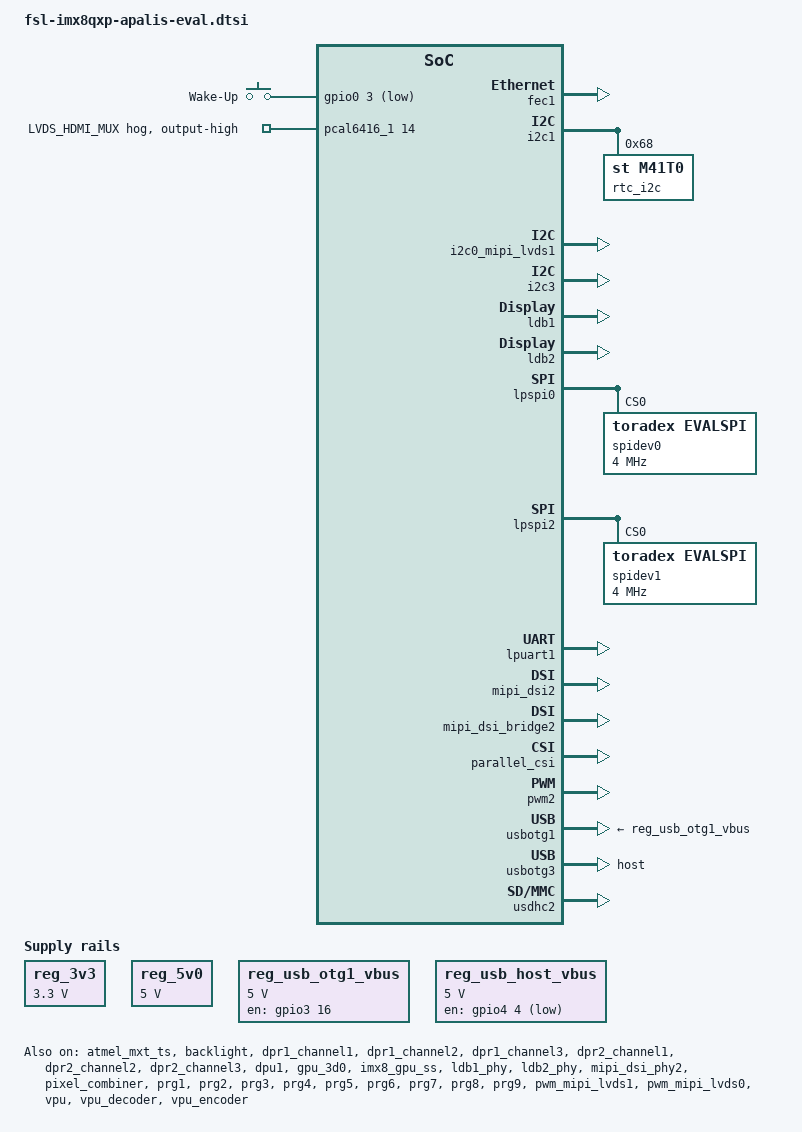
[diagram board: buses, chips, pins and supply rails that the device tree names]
// SPDX-License-Identifier: GPL-2.0+ OR X11
/*
 * Copyright 2019 Toradex
 */

/ {
	aliases {
		rtc0 = &rtc_i2c;
		rtc1 = &rtc;
	};

	display-subsystem {
		status = "okay";
	};

	/* Apalis WAKE1_MICO */
	gpio-keys {
		compatible = "gpio-keys";
		pinctrl-names = "default";
		pinctrl-0 = <&pinctrl_gpio_keys>;

		wakeup {
			label = "Wake-Up";
			gpios = <&gpio0 3 GPIO_ACTIVE_LOW>;
			linux,code = <KEY_WAKEUP>;
			debounce-interval = <10>;
			wakeup-source;
		};
	};

	reg_3v3: regulator-3v3 {
		compatible = "regulator-fixed";
		regulator-name = "3.3V";
		regulator-min-microvolt = <3300000>;
		regulator-max-microvolt = <3300000>;
	};

	reg_5v0: regulator-5v0 {
		compatible = "regulator-fixed";
		regulator-name = "5V";
		regulator-min-microvolt = <5000000>;
		regulator-max-microvolt = <5000000>;
	};

	reg_usb_otg1_vbus: regulator@0 {
		compatible = "regulator-fixed";
		pinctrl-names = "default";
		pinctrl-0 = <&pinctrl_usbo1_en>;
		regulator-name = "usb_otg1_vbus";
		regulator-min-microvolt = <5000000>;
		regulator-max-microvolt = <5000000>;
		enable-active-high;
		/* Apalis USBO1_EN */
		gpio = <&gpio3 16 GPIO_ACTIVE_HIGH>;
	};

	reg_usb_host_vbus: regulator-usb-host-vbus {
		compatible = "regulator-fixed";
		pinctrl-names = "default";
		pinctrl-0 = <&pinctrl_usbh_en>;
		regulator-name = "usb_host_vbus_hub";
		regulator-min-microvolt = <5000000>;
		regulator-max-microvolt = <5000000>;
		/* Apalis USBH_EN */
		gpio = <&gpio4 4 GPIO_ACTIVE_HIGH>;
	};
};

/* Apalis Parallel RGB */
&adma_lcdif {
	status = "okay";
};

&atmel_mxt_ts {
	status = "okay";
};

&backlight {
	brightness-levels = <0 45 63 88 119 158 203 255>;
	default-brightness-level = <4>;
	pwms = <&pwm_mipi_lvds1 0 6666667 PWM_POLARITY_INVERTED>;
	status= "okay";
};

/* Display Prefetch Resolve, (Tiling) */
&dpr1_channel1 {
	status = "okay";
};

&dpr1_channel2 {
	status = "okay";
};

&dpr1_channel3 {
	status = "okay";
};

&dpr2_channel1 {
	status = "okay";
};

&dpr2_channel2 {
	status = "okay";
};

&dpr2_channel3 {
	status = "okay";
};

&dpu1 {
	status = "okay";
};

&fec1 {
	status = "okay";
};

/* Apalis CAN2 */
&flexcan2 {
	/* define the following property to disable CAN-FD mode */
	/* disable-fd-mode; */
/* Todo:	xceiver-supply = <&reg_can_stby>; */
};

/* Apalis CAN1 */
&flexcan1 {
	/* define the following property to disable CAN-FD mode */
	/* disable-fd-mode; */
/* Todo:	xceiver-supply = <&reg_can_stby>; */
};

&gpu_3d0 {
	status = "okay";
};

/* Apalis I2C1 */
&i2c1 {
	status = "okay";

	/* M41T0M6 real time clock on carrier board */
	rtc_i2c: rtc@68 {
		compatible = "st,m41t0";
		reg = <0x68>;
	};
};

/* Apalis I2C2 (DDC) */
&i2c0_mipi_lvds1 {
	status = "okay";
};

/* Apalis I2C3 (CAM) */
&i2c3 {
	status = "okay";
#if 0 /* Todo */
	ov5640_mipi: ov5640_mipi@3c {
		compatible = "ovti,ov5640_mipi_v3";
		clocks = <&clk IMX8QXP_24MHZ>;
		clock-names = "csi_mclk";
		csi_id = <0>;
		mclk = <24000000>;
		mclk_source = <0>;
		mipi_csi;
		pinctrl-names = "default";
		pinctrl-0 = <&pinctrl_gpio12>;
		pwn-gpios = <&gpio3 22 GPIO_ACTIVE_HIGH>;
		reg = <0x3c>;
		rst-gpios = <&gpio3 21 GPIO_ACTIVE_LOW>;
		status = "okay";

		port {
			ov5640_ep: endpoint {
				remote-endpoint = <&parallel_csi_ep>;
			};
		};
	};
#endif
};

&imx8_gpu_ss {
	status = "okay";
};

&ldb1 {
	status = "okay";
};

&ldb1_phy {
	status = "okay";
};

&ldb2 {
	status = "okay";
};

&ldb2_phy {
	status = "okay";
};

/* Apalis SPI1 */
&lpspi0 {
	status = "okay";

	spidev0: spi@0 {
		compatible = "toradex,evalspi";
		reg = <0>;
		spi-max-frequency = <4000000>;
	};
};

/* Apalis SPI2 */
&lpspi2 {
	status = "okay";

	spidev1: spi@0 {
		compatible = "toradex,evalspi";
		reg = <0>;
		spi-max-frequency = <4000000>;
	};
};

/* Apalis UART1 */
&lpuart1 {
	status = "okay";
};
/*
&mipi_dsi1 {
	status = "okay";
};

&mipi_dsi_phy1 {
	status = "okay";
};

&mipi_dsi_bridge1 {
	status = "okay";
};
*/
&mipi_dsi2 {
	status = "okay";
};

&mipi_dsi_phy2 {
	status = "okay";
};

&mipi_dsi_bridge2 {
	status = "okay";
};

/* Todo: copied from mek and put some things in... */
&parallel_csi {
	#address-cells = <1>;
	#size-cells = <0>;
	status = "okay";
#if 0 /* Todo */
	port@1 {
		reg = <1>;

		parallel_csi_ep: endpoint {
			data-lanes = <1 2>;
			remote-endpoint = <&ov5640_ep>;
		};
	};
#endif
};

/* On-module GPIO Expander */
&pcal6416_1 {
	/*
	 * This gpio-hog drives a muxing device. With that we can choose
	 * if LVDS1_B pins are active or if DVI signals are active. Those
	 * signals are then muxed to MIPI_DSI1 PADs.
	 *
	 * output-high; muxes to DVI signals
	 * output-low; muxes to LVDS1_B signals
	 */
	LVDS_HDMI_MUX {
		gpio-hog;
		gpios = <14 0>;
		output-high;
		line-name = "LVDS_HDMI_MUX";
	};
};

&pixel_combiner {
	status = "okay";
};

&prg1 {
	status = "okay";
};

&prg2 {
	status = "okay";
};

&prg3 {
	status = "okay";
};

&prg4 {
	status = "okay";
};

&prg5 {
	status = "okay";
};

&prg6 {
	status = "okay";
};

&prg7 {
	status = "okay";
};

&prg8 {
	status = "okay";
};

&prg9 {
	status = "okay";
};

/* Apalis BKL1_PWM */
&pwm_mipi_lvds1 {
	status = "okay";
};

/* Apalis PWM1 */
&pwm2 {
	status = "okay";
};

/* Apalis PWM2 */
&pwm_mipi_lvds0 {
	status = "okay";
};

/* Apalis USBO1 */
&usbotg1 {
	vbus-supply = <&reg_usb_otg1_vbus>;
	srp-disable;
	hnp-disable;
	adp-disable;
	disable-over-current;
	status = "okay";
};

&usbotg3 {
	dr_mode = "host";
	vbus-regulator = <&reg_usb_host_vbus>;
	status = "okay";
};

/* Apalis MMC1 */
&usdhc2 {
	status = "okay";
};

&vpu {
	status = "okay";
};

&vpu_decoder {
	status = "okay";
};

&vpu_encoder {
	status = "okay";
};
